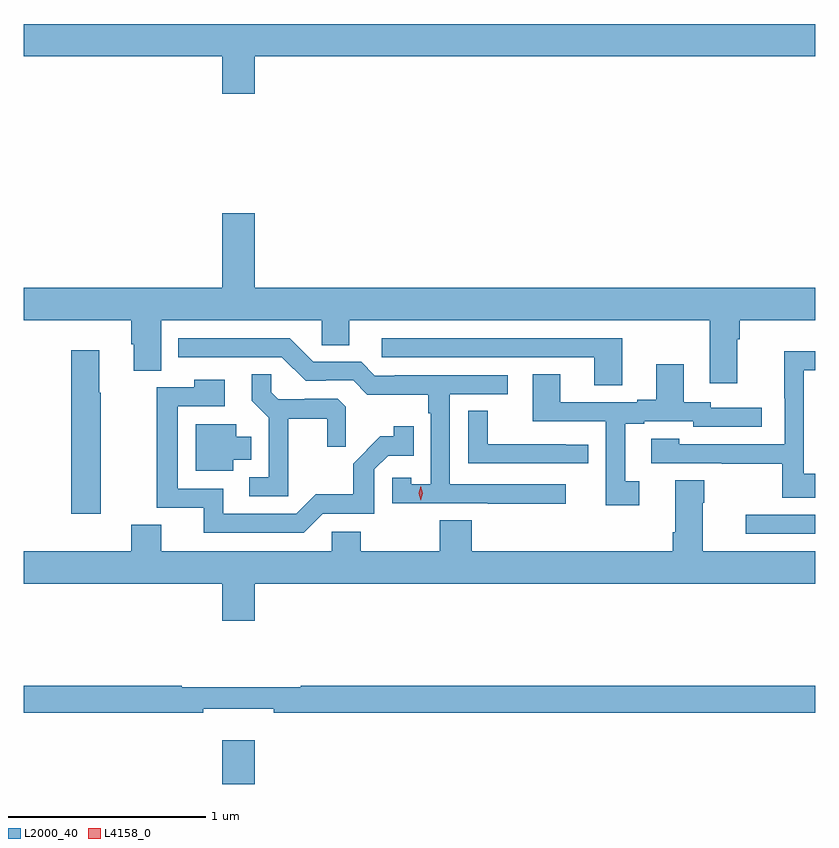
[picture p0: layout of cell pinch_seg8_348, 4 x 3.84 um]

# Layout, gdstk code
import gdstk
lib = gdstk.Library(unit=1e-6, precision=1e-09)
def R(c, l, rs):  # rectangles x0, y0, x1, y1
    for r in rs: c.add(gdstk.rectangle(r[:2], r[2:], *l))
def P(c, l, *ps):  # polygons
    for p in ps: c.add(gdstk.Polygon(p, *l))
L2000_40 = (2000, 40)
L4158_0 = (4158, 0)

pinch_seg8_348 = lib.new_cell('pinch_seg8_348')
R(pinch_seg8_348, L2000_40, [(380.792,1143.459,380.956,1143.679), (383.439,1144.725,383.789,1144.821)])
P(pinch_seg8_348, L2000_40, [(380.956,1147.136),(383.789,1147.136),(383.789,1147.3),(379.789,1147.3),(379.789,1147.136),(380.792,1147.136),(380.792,1146.948),(380.956,1146.948)],
  [(383.395,1145.708),(383.408,1145.708),(383.408,1145.804),(383.789,1145.804),(383.789,1145.968),(380.956,1145.968),(380.956,1146.343),(380.792,1146.343),(380.792,1145.968),(379.789,1145.968),(379.789,1145.804),(380.333,1145.804),(380.333,1145.682),(380.345,1145.682),(380.345,1145.548),(380.485,1145.548),(380.485,1145.804),(381.294,1145.804),(381.294,1145.677),(381.433,1145.677),(381.433,1145.804),(383.255,1145.804),(383.255,1145.484),(383.395,1145.484)],
  [(382.528,1144.974),(381.942,1144.974),(381.942,1145.43),(382.234,1145.43),(382.234,1145.526),(381.664,1145.526),(381.664,1145.523),(381.564,1145.523),(381.495,1145.592),(381.252,1145.592),(381.132,1145.712),(380.57,1145.712),(380.57,1145.616),(381.093,1145.616),(381.213,1145.496),(381.314,1145.496),(381.314,1145.499),(381.453,1145.499),(381.526,1145.426),(381.834,1145.426),(381.834,1145.333),(381.846,1145.333),(381.846,1144.975),(381.747,1144.975),(381.747,1145.007),(381.651,1145.007),(381.651,1144.878),(382.135,1144.878),(382.135,1144.876),(382.528,1144.876)],
  [(382.813,1145.712),(381.597,1145.712),(381.597,1145.616),(382.673,1145.616),(382.673,1145.473),(382.813,1145.473)],
  [(380.178,1145.437),(380.17,1145.437),(380.17,1145.65),(380.029,1145.65),(380.029,1144.824),(380.178,1144.824)],
  [(383.789,1145.028),(383.73,1145.028),(383.73,1145.549),(383.789,1145.549),(383.789,1145.647),(383.632,1145.647),(383.632,1145.408),(383.634,1145.408),(383.634,1145.175),(383.103,1145.175),(383.103,1145.203),(382.959,1145.203),(382.959,1145.079),(383.317,1145.079),(383.317,1145.077),(383.622,1145.077),(383.622,1144.906),(383.789,1144.906)],
  [(382.9,1144.989),(382.828,1144.989),(382.828,1145.28),(382.924,1145.28),(382.924,1145.292),(383.172,1145.292),(383.172,1145.265),(383.518,1145.265),(383.518,1145.361),(383.262,1145.361),(383.262,1145.388),(383.125,1145.388),(383.125,1145.581),(382.985,1145.581),(382.985,1145.401),(382.889,1145.401),(382.889,1145.388),(382.501,1145.388),(382.501,1145.531),(382.361,1145.531),(382.361,1145.292),(382.731,1145.292),(382.731,1144.869),(382.9,1144.869)],
  [(381.125,1145.306),(381.322,1145.306),(381.322,1145.163),(381.416,1145.163),(381.416,1145.365),(381.375,1145.406),(381.21,1145.406),(381.21,1145.403),(381.076,1145.403),(381.039,1145.44),(381.039,1145.531),(380.941,1145.531),(380.941,1145.395),(381.027,1145.309),(381.027,1145.01),(380.928,1145.01),(380.928,1144.914),(381.125,1144.914)],
  [(381.3,1144.824),(381.561,1144.824),(381.561,1145.049),(381.63,1145.118),(381.761,1145.118),(381.761,1145.266),(381.66,1145.266),(381.66,1145.216),(381.59,1145.216),(381.453,1145.078),(381.453,1144.923),(381.264,1144.923),(381.165,1144.824),(380.797,1144.824),(380.797,1144.95),(380.568,1144.95),(380.568,1145.367),(380.806,1145.367),(380.806,1145.503),(380.65,1145.503),(380.65,1145.463),(380.46,1145.463),(380.46,1144.854),(380.699,1144.854),(380.699,1144.728),(381.204,1144.728)],
  [(382.642,1145.174),(382.529,1145.174),(382.529,1145.175),(382.134,1145.175),(382.134,1145.345),(382.035,1145.345),(382.035,1145.079),(382.642,1145.079)],
  [(380.848,1145.099),(380.938,1145.099),(380.938,1145.215),(380.863,1145.215),(380.863,1145.278),(380.657,1145.278),(380.657,1145.042),(380.848,1145.042)],
  [(380.956,1144.472),(383.789,1144.472),(383.789,1144.636),(383.221,1144.636),(383.221,1144.88),(383.229,1144.88),(383.229,1144.993),(383.081,1144.993),(383.081,1144.732),(383.069,1144.732),(383.069,1144.636),(382.052,1144.636),(382.052,1144.793),(381.892,1144.793),(381.892,1144.636),(381.492,1144.636),(381.492,1144.734),(381.345,1144.734),(381.345,1144.636),(380.485,1144.636),(380.485,1144.769),(380.333,1144.769),(380.333,1144.636),(379.789,1144.636),(379.789,1144.472),(380.792,1144.472),(380.792,1144.284),(380.956,1144.284)],
  [(380.696,1143.839),(381.052,1143.839),(381.052,1143.82),(383.789,1143.82),(383.789,1143.956),(381.188,1143.956),(381.188,1143.949),(380.588,1143.949),(380.588,1143.956),(379.789,1143.956),(379.789,1143.82),(380.696,1143.82)])
P(pinch_seg8_348, L4158_0, [(381.795,1144.893),(381.795,1144.894),(381.785,1144.929),(381.795,1144.965),(381.795,1144.965),(381.796,1144.965),(381.805,1144.929),(381.796,1144.894)])

lib.write_gds('pinch_seg8_348.gds')
